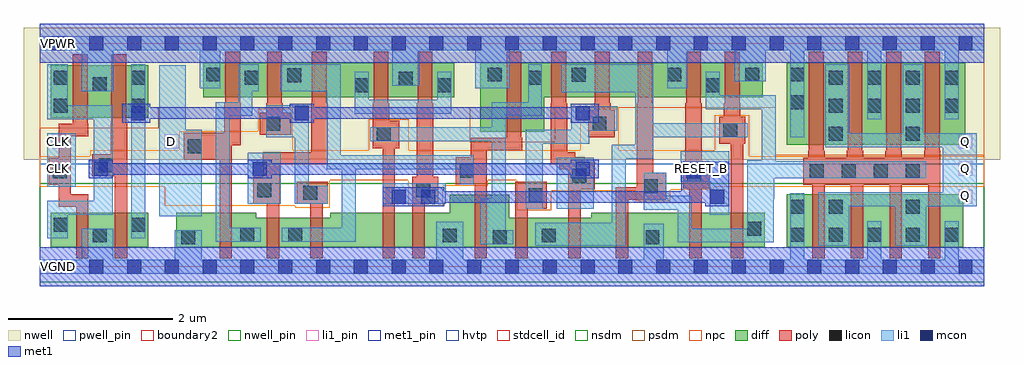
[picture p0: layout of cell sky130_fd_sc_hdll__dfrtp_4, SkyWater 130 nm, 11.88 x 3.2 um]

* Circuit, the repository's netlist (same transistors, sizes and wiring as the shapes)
* Copyright 2020 The SkyWater PDK Authors
*
* Licensed under the Apache License, Version 2.0 (the "License");
* you may not use this file except in compliance with the License.
* You may obtain a copy of the License at
*
*     https://www.apache.org/licenses/LICENSE-2.0
*
* Unless required by applicable law or agreed to in writing, software
* distributed under the License is distributed on an "AS IS" BASIS,
* WITHOUT WARRANTIES OR CONDITIONS OF ANY KIND, either express or implied.
* See the License for the specific language governing permissions and
* limitations under the License.
*
* SPDX-License-Identifier: Apache-2.0

.SUBCKT sky130_fd_sc_hdll__dfrtp_4 CLK D RESET_B VGND VNB VPB VPWR Q
*.PININFO CLK:I D:I RESET_B:I VGND:I VNB:I VPB:I VPWR:I Q:O
MI46 clkpos clkneg VGND VNB sky130_fd_pr__nfet_01v8 m=1 w=0.42U l=0.15U mult=1
+ sa=0.265 sb=0.265 sd=0.28 area=0.063 perim=1.14
MI42 db clkneg M0 VNB sky130_fd_pr__nfet_01v8 m=1 w=0.36U l=0.15U mult=1 sa=0.265
+ sb=0.265 sd=0.28 area=0.063 perim=1.14
MI656 net82 s0 net108 VNB sky130_fd_pr__nfet_01v8 m=1 w=0.42U l=0.15U mult=1 sa=0.265
+ sb=0.265 sd=0.28 area=0.063 perim=1.14
MI657 net108 RESET_B VGND VNB sky130_fd_pr__nfet_01v8 m=1 w=0.42U l=0.15U mult=1
+ sa=0.265 sb=0.265 sd=0.28 area=0.063 perim=1.14
MI33 net101 RESET_B VGND VNB sky130_fd_pr__nfet_01v8 m=1 w=0.42U l=0.15U mult=1
+ sa=0.265 sb=0.265 sd=0.28 area=0.063 perim=1.14
MI4 M0 clkpos net93 VNB sky130_fd_pr__nfet_01v8 m=1 w=0.36U l=0.15U mult=1 sa=0.265
+ sb=0.265 sd=0.28 area=0.063 perim=1.14
MI34 net93 M1 net101 VNB sky130_fd_pr__nfet_01v8 m=1 w=0.42U l=0.15U mult=1 sa=0.265
+ sb=0.265 sd=0.28 area=0.063 perim=1.14
MI655 s0 clkneg net81 VNB sky130_fd_pr__nfet_01v8 m=1 w=0.36U l=0.15U mult=1 sa=0.265
+ sb=0.265 sd=0.28 area=0.063 perim=1.14
MI653 Q net82 VGND VNB sky130_fd_pr__nfet_01v8 m=4 w=0.65U l=0.15U mult=1 sa=0.265
+ sb=0.265 sd=0.28 area=0.063 perim=1.14
MI654 net81 net82 VGND VNB sky130_fd_pr__nfet_01v8 m=1 w=0.42U l=0.15U mult=1 sa=0.265
+ sb=0.265 sd=0.28 area=0.063 perim=1.14
MI44 clkneg CLK VGND VNB sky130_fd_pr__nfet_01v8 m=1 w=0.42U l=0.15U mult=1 sa=0.265
+ sb=0.265 sd=0.28 area=0.063 perim=1.14
MI647 M1 M0 VGND VNB sky130_fd_pr__nfet_01v8 m=1 w=0.64U l=0.15U mult=1 sa=0.265
+ sb=0.265 sd=0.28 area=0.063 perim=1.14
MI39 db D VGND VNB sky130_fd_pr__nfet_01v8 m=1 w=0.42U l=0.15U mult=1 sa=0.265
+ sb=0.265 sd=0.28 area=0.063 perim=1.14
MI649 M1 clkpos s0 VNB sky130_fd_pr__nfet_01v8 m=1 w=0.36U l=0.15U mult=1 sa=0.265
+ sb=0.265 sd=0.28 area=0.063 perim=1.14
MI47 clkpos clkneg VPWR VPB sky130_fd_pr__pfet_01v8_hvt m=1 w=0.64U l=0.18U mult=1
+ sa=0.265 sb=0.265 sd=0.28 area=0.063 perim=1.14
MI43 db clkpos M0 VPB sky130_fd_pr__pfet_01v8_hvt m=1 w=0.42U l=0.18U mult=1 sa=0.265
+ sb=0.265 sd=0.28 area=0.063 perim=1.14
MI662 net165 net82 VPWR VPB sky130_fd_pr__pfet_01v8_hvt m=1 w=0.42U l=0.18U mult=1
+ sa=0.265 sb=0.265 sd=0.28 area=0.063 perim=1.14
MI659 net82 RESET_B VPWR VPB sky130_fd_pr__pfet_01v8_hvt m=1 w=0.42U l=0.18U mult=1
+ sa=0.265 sb=0.265 sd=0.28 area=0.063 perim=1.14
MI664 s0 clkpos net165 VPB sky130_fd_pr__pfet_01v8_hvt m=1 w=0.42U l=0.18U mult=1
+ sa=0.265 sb=0.265 sd=0.28 area=0.063 perim=1.14
MI658 net82 s0 VPWR VPB sky130_fd_pr__pfet_01v8_hvt m=1 w=0.42U l=0.18U mult=1
+ sa=0.265 sb=0.265 sd=0.28 area=0.063 perim=1.14
MI30 net144 M1 VPWR VPB sky130_fd_pr__pfet_01v8_hvt m=1 w=0.42U l=0.18U mult=1
+ sa=0.265 sb=0.265 sd=0.28 area=0.063 perim=1.14
MI31 M0 clkneg net144 VPB sky130_fd_pr__pfet_01v8_hvt m=1 w=0.42U l=0.18U mult=1
+ sa=0.265 sb=0.265 sd=0.28 area=0.063 perim=1.14
MI32 net144 RESET_B VPWR VPB sky130_fd_pr__pfet_01v8_hvt m=1 w=0.42U l=0.18U mult=1
+ sa=0.265 sb=0.265 sd=0.28 area=0.063 perim=1.14
MI660 Q net82 VPWR VPB sky130_fd_pr__pfet_01v8_hvt m=4 w=1.0U l=0.18U mult=1 sa=0.265
+ sb=0.265 sd=0.28 area=0.063 perim=1.14
MI45 clkneg CLK VPWR VPB sky130_fd_pr__pfet_01v8_hvt m=1 w=0.64U l=0.18U mult=1
+ sa=0.265 sb=0.265 sd=0.28 area=0.063 perim=1.14
MI648 M1 M0 VPWR VPB sky130_fd_pr__pfet_01v8_hvt m=1 w=0.84U l=0.18U mult=1 sa=0.265
+ sb=0.265 sd=0.28 area=0.063 perim=1.14
MI40 db D VPWR VPB sky130_fd_pr__pfet_01v8_hvt m=1 w=0.42U l=0.18U mult=1 sa=0.265
+ sb=0.265 sd=0.28 area=0.063 perim=1.14
MI650 M1 clkneg s0 VPB sky130_fd_pr__pfet_01v8_hvt m=1 w=0.42U l=0.18U mult=1 sa=0.265
+ sb=0.265 sd=0.28 area=0.063 perim=1.14
.ENDS sky130_fd_sc_hdll__dfrtp_4

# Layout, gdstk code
import gdstk
lib = gdstk.Library(unit=1e-6, precision=1e-09)
def R(c, l, rs):  # rectangles x0, y0, x1, y1
    for r in rs: c.add(gdstk.rectangle(r[:2], r[2:], *l))
def A(c, l, x, y, w, h, nx, ny, dx, dy):  # array of equal rectangles
    R(c, l, [(x+i*dx, y+j*dy, x+i*dx+w, y+j*dy+h) for i in range(nx) for j in range(ny)])
def P(c, l, *ps):  # polygons
    for p in ps: c.add(gdstk.Polygon(p, *l))
nwell_pin = (64, 16)
nwell = (64, 20)
diff = (65, 20)
poly = (66, 20)
licon = (66, 44)
li1_pin = (67, 16)
li1 = (67, 20)
mcon = (67, 44)
met1_pin = (68, 16)
met1 = (68, 20)
hvtp = (78, 44)
stdcell_id = (81, 4)
nsdm = (93, 44)
psdm = (94, 20)
npc = (95, 20)
pwell_pin = (122, 16)
boundary2 = (236, 0)

sky130_fd_sc_hdll__dfrtp = lib.new_cell('sky130_fd_sc_hdll__dfrtp_4')
R(sky130_fd_sc_hdll__dfrtp, nwell_pin, [(0.145,2.635,0.315,2.805)])
R(sky130_fd_sc_hdll__dfrtp, nwell, [(-0.19,1.305,11.69,2.91)])
R(sky130_fd_sc_hdll__dfrtp, diff, [(0.135,0.235,1.325,0.655), (9.095,0.235,11.245,0.885), (9.095,1.485,11.27,2.485), (0.135,1.815,1.325,2.455), (1.99,2.065,5.05,2.485)])
P(sky130_fd_sc_hdll__dfrtp, diff, [(8.8,2.485),(5.365,2.485),(5.365,1.645),(6.145,1.645),(6.145,2.065),(8.8,2.065)],
  [(8.825,0.655),(6.715,0.655),(6.715,0.595),(5.715,0.595),(5.715,0.875),(4.995,0.875),(4.995,0.655),(3.535,0.655),(3.535,0.595),(2.64,0.595),(2.64,0.655),(1.665,0.655),(1.665,0.235),(8.825,0.235)])
P(sky130_fd_sc_hdll__dfrtp, poly, [(0.595,1.74),(0.585,1.74),(0.585,2.585),(0.405,2.585),(0.405,1.74),(0.23,1.74),(0.23,1.325),(0.11,1.325),(0.11,0.995),(0.23,0.995),(0.23,0.73),(0.445,0.73),(0.445,0.105),(0.595,0.105),(0.595,0.88),(0.38,0.88),(0.38,1.59),(0.595,1.59)],
  [(1.065,1.74),(1.055,1.74),(1.055,2.585),(0.875,2.585),(0.875,1.74),(0.865,1.74),(0.865,1.37),(0.64,1.37),(0.64,1.1),(0.915,1.1),(0.915,0.105),(1.065,0.105)],
  [(2.45,1.99),(2.44,1.99),(2.44,2.615),(2.26,2.615),(2.26,1.99),(2.25,1.99),(2.25,1.63),(1.755,1.63),(1.755,1.3),(2.19,1.3),(2.19,0.105),(2.34,0.105),(2.34,1.48),(2.45,1.48)],
  [(3.06,1.875),(2.96,1.875),(2.96,1.99),(2.95,1.99),(2.95,2.615),(2.77,2.615),(2.77,1.99),(2.76,1.99),(2.76,1.875),(2.68,1.875),(2.68,1.605),(3.06,1.605)],
  [(3.505,1.99),(3.495,1.99),(3.495,2.615),(3.315,2.615),(3.315,1.99),(3.305,1.99),(3.305,1.395),(2.715,1.395),(2.715,1.095),(2.6,1.095),(2.6,0.765),(2.765,0.765),(2.765,0.105),(2.915,0.105),(2.915,0.765),(2.92,0.765),(2.92,1.245),(3.505,1.245)],
  [(3.51,1.035),(3.13,1.035),(3.13,0.765),(3.295,0.765),(3.295,0.105),(3.445,0.105),(3.445,0.765),(3.51,0.765)],
  [(4.38,1.775),(4.255,1.775),(4.255,1.99),(4.245,1.99),(4.245,2.615),(4.065,2.615),(4.065,1.99),(4.055,1.99),(4.055,1.445),(4.175,1.445),(4.175,0.105),(4.325,0.105),(4.325,1.445),(4.38,1.445)],
  [(4.855,1.095),(4.79,1.095),(4.79,1.99),(4.78,1.99),(4.78,2.615),(4.6,2.615),(4.6,1.99),(4.59,1.99),(4.59,1.095),(4.535,1.095),(4.535,0.105),(4.685,0.105),(4.685,0.765),(4.855,0.765)],
  [(5.875,1.57),(5.865,1.57),(5.865,2.615),(5.685,2.615),(5.685,1.57),(5.245,1.57),(5.245,1.335),(5.065,1.335),(5.065,1.005),(5.295,1.005),(5.295,0.105),(5.445,0.105),(5.445,1.42),(5.875,1.42)],
  [(6.175,1.035),(5.79,1.035),(5.79,0.105),(5.94,0.105),(5.94,0.705),(6.175,0.705)],
  [(6.755,1.275),(6.635,1.275),(6.635,1.335),(6.52,1.335),(6.52,1.395),(6.42,1.395),(6.42,1.99),(6.41,1.99),(6.41,2.615),(6.23,2.615),(6.23,1.99),(6.22,1.99),(6.22,1.245),(6.325,1.245),(6.325,1.185),(6.435,1.185),(6.435,0.105),(6.585,0.105),(6.585,0.945),(6.755,0.945)],
  [(7,1.905),(6.95,1.905),(6.95,1.99),(6.94,1.99),(6.94,2.615),(6.76,2.615),(6.76,1.99),(6.75,1.99),(6.75,1.905),(6.68,1.905),(6.68,1.575),(7,1.575)],
  [(7.625,1.145),(7.47,1.145),(7.47,1.99),(7.46,1.99),(7.46,2.615),(7.28,2.615),(7.28,1.99),(7.27,1.99),(7.27,0.965),(7.015,0.965),(7.015,0.105),(7.165,0.105),(7.165,0.815),(7.625,0.815)],
  [(8.155,1.285),(8.06,1.285),(8.06,1.99),(8.05,1.99),(8.05,2.615),(7.87,2.615),(7.87,1.99),(7.86,1.99),(7.86,1.285),(7.835,1.285),(7.835,0.955),(7.91,0.955),(7.91,0.105),(8.06,0.105),(8.06,0.955),(8.155,0.955)],
  [(8.59,1.825),(8.53,1.825),(8.53,1.99),(8.52,1.99),(8.52,2.615),(8.34,2.615),(8.34,1.99),(8.33,1.99),(8.33,1.825),(8.27,1.825),(8.27,1.495),(8.415,1.495),(8.415,0.105),(8.565,0.105),(8.565,1.495),(8.59,1.495)],
  [(10.965,1.41),(10.955,1.41),(10.955,2.615),(10.775,2.615),(10.775,1.41),(10.765,1.41),(10.765,1.325),(10.495,1.325),(10.495,1.41),(10.485,1.41),(10.485,2.615),(10.305,2.615),(10.305,1.41),(10.295,1.41),(10.295,1.325),(10.025,1.325),(10.025,1.41),(10.015,1.41),(10.015,2.615),(9.835,2.615),(9.835,1.41),(9.825,1.41),(9.825,1.325),(9.555,1.325),(9.555,1.41),(9.545,1.41),(9.545,2.615),(9.365,2.615),(9.365,1.41),(9.355,1.41),(9.355,1.325),(9.295,1.325),(9.295,0.995),(9.405,0.995),(9.405,0.105),(9.555,0.105),(9.555,0.995),(9.875,0.995),(9.875,0.105),(10.025,0.105),(10.025,0.995),(10.345,0.995),(10.345,0.105),(10.495,0.105),(10.495,0.995),(10.815,0.995),(10.815,0.105),(10.965,0.105)])
A(sky130_fd_sc_hdll__dfrtp, licon, 9.135, 0.305, 0.17, 0.17, 5, 1, 0.47, 0)
A(sky130_fd_sc_hdll__dfrtp, licon, 9.375, 1.075, 0.17, 0.17, 4, 1, 0.39, 0)
A(sky130_fd_sc_hdll__dfrtp, licon, 9.605, 1.875, 0.17, 0.17, 4, 2, 0.47, 0.34)
R(sky130_fd_sc_hdll__dfrtp, licon, [(1.725,0.275,1.895,0.445), (5.515,0.275,5.685,0.445), (7.375,0.275,7.545,0.445), (0.645,0.295,0.815,0.465), (4.905,0.295,5.075,0.465), (6.115,0.295,6.285,0.465), (2.44,0.305,2.61,0.475), (3.025,0.305,3.195,0.475), (8.615,0.375,8.785,0.545), (0.175,0.425,0.345,0.595), (1.115,0.425,1.285,0.595), (9.135,0.645,9.305,0.815), (9.605,0.645,9.775,0.815), (10.545,0.645,10.715,0.815), (5.955,0.785,6.125,0.955), (3.21,0.815,3.38,0.985), (2.65,0.845,2.82,1.015), (4.585,0.845,4.755,1.015), (7.355,0.895,7.525,1.065), (6.485,1.025,6.655,1.195), (7.885,1.035,8.055,1.205), (0.16,1.075,0.33,1.245), (5.115,1.085,5.285,1.255), (0.72,1.15,0.89,1.32), (1.805,1.38,1.975,1.55), (4.105,1.525,4.275,1.695), (9.605,1.535,9.775,1.705), (10.545,1.535,10.715,1.705), (8.32,1.575,8.49,1.745), (2.76,1.655,2.93,1.825), (6.73,1.655,6.9,1.825), (0.175,1.875,0.345,2.045), (1.115,1.875,1.285,2.045), (9.135,1.915,9.305,2.085), (3.835,2.125,4.005,2.295), (4.84,2.125,5.01,2.295), (8.11,2.125,8.28,2.295), (0.645,2.135,0.815,2.305), (4.37,2.205,4.54,2.375), (0.175,2.215,0.345,2.385), (1.115,2.215,1.285,2.385), (2.5,2.215,2.67,2.385), (5.945,2.215,6.115,2.385), (3.015,2.245,3.185,2.415), (6.48,2.25,6.65,2.42), (2.03,2.255,2.2,2.425), (5.455,2.255,5.625,2.425), (7.64,2.255,7.81,2.425), (8.59,2.255,8.76,2.425), (9.135,2.255,9.305,2.425)])
A(sky130_fd_sc_hdll__dfrtp, li1_pin, 11.185, 0.765, 0.17, 0.17, 1, 3, 0, 0.34)
R(sky130_fd_sc_hdll__dfrtp, li1_pin, [(0.15,1.105,0.32,1.275), (0.15,1.445,0.32,1.615), (1.525,1.445,1.695,1.615)])
R(sky130_fd_sc_hdll__dfrtp, li1, [(1.115,0.345,1.285,2.465), (6.295,0.705,6.745,1.325), (2.535,0.765,2.935,1.385), (4.175,0.765,4.945,1.015), (0.09,0.975,0.44,1.625)])
P(sky130_fd_sc_hdll__dfrtp, li1, [(0.89,1.965),(0.345,1.965),(0.345,2.465),(0.09,2.465),(0.09,1.795),(0.66,1.795),(0.66,0.805),(0.09,0.805),(0.09,0.345),(0.345,0.345),(0.345,0.635),(0.89,0.635)],
  [(1.975,1.665),(1.78,1.665),(1.78,2.45),(1.455,2.45),(1.455,0.615),(1.975,0.615)],
  [(2.69,0.475),(2.315,0.475),(2.315,1.835),(2.59,1.835),(2.59,2.135),(2.67,2.135),(2.67,2.465),(2.42,2.465),(2.42,2.005),(2.145,2.005),(2.145,0.305),(2.69,0.305)],
  [(3.51,0.985),(3.275,0.985),(3.275,1.965),(2.76,1.965),(2.76,1.575),(3.105,1.575),(3.105,0.765),(3.51,0.765)],
  [(5.01,2.375),(4.84,2.375),(4.84,2.035),(4.005,2.035),(4.005,2.375),(3.835,2.375),(3.835,1.865),(5.01,1.865)],
  [(5.285,1.355),(3.665,1.355),(3.665,2.465),(2.935,2.465),(2.935,2.135),(3.495,2.135),(3.495,1.185),(3.68,1.185),(3.68,0.475),(2.945,0.475),(2.945,0.305),(3.85,0.305),(3.85,1.185),(5.115,1.185),(5.115,1.005),(5.285,1.005)],
  [(6.115,2.465),(5.945,2.465),(5.945,2.005),(5.505,2.005),(5.505,1.695),(4.025,1.695),(4.025,1.525),(5.505,1.525),(5.505,0.835),(5.365,0.835),(5.365,0.275),(5.765,0.275),(5.765,0.445),(5.675,0.445),(5.675,1.835),(6.115,1.835)],
  [(7.03,1.955),(6.47,1.955),(6.47,1.665),(5.915,1.665),(5.915,0.705),(6.125,0.705),(6.125,1.495),(6.69,1.495),(6.69,1.655),(7.03,1.655)],
  [(8.395,1.405),(7.805,1.405),(7.805,1.035),(8.155,1.035),(8.155,0.635),(8.395,0.635)],
  [(8.62,1.745),(7.47,1.745),(7.47,2.465),(6.35,2.465),(6.35,2.125),(7.25,2.125),(7.25,1.485),(6.965,1.485),(6.965,0.535),(6.035,0.535),(6.035,0.255),(7.135,0.255),(7.135,1.315),(7.47,1.315),(7.47,1.575),(8.62,1.575)],
  [(10.795,1.285),(8.96,1.285),(8.96,2.085),(8.28,2.085),(8.28,2.375),(8.11,2.375),(8.11,1.915),(8.79,1.915),(8.79,1.295),(8.615,1.295),(8.615,0.465),(7.935,0.465),(7.935,0.865),(7.625,0.865),(7.625,1.145),(7.355,1.145),(7.355,0.695),(7.765,0.695),(7.765,0.295),(8.935,0.295),(8.935,0.82),(8.94,0.82),(8.94,1.075),(10.795,1.075)],
  [(11.405,1.625),(10.755,1.625),(10.755,2.465),(10.505,2.465),(10.505,1.625),(9.855,1.625),(9.855,2.465),(9.565,2.465),(9.565,1.455),(10.995,1.455),(10.995,0.905),(9.475,0.905),(9.475,0.255),(9.855,0.255),(9.855,0.735),(10.415,0.735),(10.415,0.255),(10.795,0.255),(10.795,0.735),(11.405,0.735)],
  [(11.5,2.805),(0,2.805),(0,2.635),(0.515,2.635),(0.515,2.135),(0.895,2.135),(0.895,2.635),(1.95,2.635),(1.95,2.175),(2.2,2.175),(2.2,2.635),(4.29,2.635),(4.29,2.205),(4.62,2.205),(4.62,2.635),(5.305,2.635),(5.305,2.175),(5.725,2.175),(5.725,2.635),(7.64,2.635),(7.64,2.175),(7.89,2.175),(7.89,2.635),(8.46,2.635),(8.46,2.255),(8.84,2.255),(8.84,2.635),(9.135,2.635),(9.135,1.575),(9.305,1.575),(9.305,2.635),(10.075,2.635),(10.075,1.795),(10.245,1.795),(10.245,2.635),(11.015,2.635),(11.015,1.795),(11.185,1.795),(11.185,2.635),(11.5,2.635)],
  [(11.5,0.085),(11.185,0.085),(11.185,0.555),(11.015,0.555),(11.015,0.085),(10.245,0.085),(10.245,0.555),(10.075,0.555),(10.075,0.085),(9.305,0.085),(9.305,0.895),(9.135,0.895),(9.135,0.085),(7.595,0.085),(7.595,0.525),(7.355,0.525),(7.355,0.085),(5.155,0.085),(5.155,0.545),(4.825,0.545),(4.825,0.085),(1.975,0.085),(1.975,0.445),(1.645,0.445),(1.645,0.085),(0.895,0.085),(0.895,0.465),(0.515,0.465),(0.515,0.085),(0,0.085),(0,-0.085),(11.5,-0.085)])
A(sky130_fd_sc_hdll__dfrtp, mcon, 0.145, -0.085, 0.17, 0.17, 25, 2, 0.46, 2.72)
R(sky130_fd_sc_hdll__dfrtp, mcon, [(4.285,0.765,4.455,0.935), (4.645,0.765,4.815,0.935), (8.165,0.765,8.335,0.935), (7.87,1.08,8.04,1.25), (0.66,1.105,0.83,1.275), (2.595,1.105,2.765,1.275), (6.525,1.105,6.695,1.275), (1.115,1.785,1.285,1.955), (3.105,1.785,3.275,1.955), (6.525,1.785,6.695,1.955)])
R(sky130_fd_sc_hdll__dfrtp, met1_pin, [(0.145,-0.085,0.315,0.085), (7.965,1.105,8.135,1.275), (0.145,2.635,0.315,2.805)])
R(sky130_fd_sc_hdll__dfrtp, met1, [(0,-0.24,11.5,0.24), (0,2.48,11.5,2.96)])
P(sky130_fd_sc_hdll__dfrtp, met1, [(6.805,1.985),(6.465,1.985),(6.465,1.94),(3.335,1.94),(3.335,1.985),(3.045,1.985),(3.045,1.94),(1.345,1.94),(1.345,1.985),(1.005,1.985),(1.005,1.755),(1.345,1.755),(1.345,1.8),(3.045,1.8),(3.045,1.755),(3.335,1.755),(3.335,1.8),(6.465,1.8),(6.465,1.755),(6.805,1.755)],
  [(6.805,1.305),(6.465,1.305),(6.465,1.26),(2.825,1.26),(2.825,1.305),(2.535,1.305),(2.535,1.26),(0.89,1.26),(0.89,1.305),(0.6,1.305),(0.6,1.075),(0.89,1.075),(0.89,1.12),(2.535,1.12),(2.535,1.075),(2.825,1.075),(2.825,1.12),(6.465,1.12),(6.465,1.075),(6.805,1.075)],
  [(8.395,1.28),(7.81,1.28),(7.81,0.92),(4.925,0.92),(4.925,0.965),(4.175,0.965),(4.175,0.735),(4.925,0.735),(4.925,0.78),(8.105,0.78),(8.105,0.735),(8.395,0.735)])
R(sky130_fd_sc_hdll__dfrtp, hvtp, [(0,1.25,11.5,2.72)])
R(sky130_fd_sc_hdll__dfrtp, stdcell_id, [(0,0,11.5,2.72)])
R(sky130_fd_sc_hdll__dfrtp, nsdm, [(0,-0.19,11.5,1.015)])
P(sky130_fd_sc_hdll__dfrtp, psdm, [(11.5,2.91),(0,2.91),(0,1.685),(1.45,1.685),(1.45,1.935),(5.235,1.935),(5.235,1.515),(6.275,1.515),(6.275,1.935),(8.955,1.935),(8.955,1.355),(11.5,1.355)])
P(sky130_fd_sc_hdll__dfrtp, npc, [(11.5,1.345),(8.64,1.345),(8.64,1.845),(8.22,1.845),(8.22,1.42),(7.05,1.42),(7.05,1.925),(6.58,1.925),(6.58,1.42),(4.495,1.42),(4.495,1.795),(4.005,1.795),(4.005,1.42),(3.08,1.42),(3.08,1.925),(2.66,1.925),(2.66,1.65),(1.7,1.65),(1.7,1.42),(0.615,1.42),(0.615,1.345),(0,1.345),(0,0.975),(1.525,0.975),(1.525,0.745),(3.11,0.745),(3.11,0.715),(3.53,0.715),(3.53,1.05),(4.485,1.05),(4.485,0.745),(4.905,0.745),(4.905,0.985),(5.455,0.985),(5.455,1.05),(5.805,1.05),(5.805,0.685),(6.225,0.685),(6.225,0.925),(7.255,0.925),(7.255,0.795),(7.675,0.795),(7.675,0.935),(8.205,0.935),(8.205,0.975),(11.5,0.975)])
R(sky130_fd_sc_hdll__dfrtp, pwell_pin, [(0.145,-0.085,0.315,0.085)])
R(sky130_fd_sc_hdll__dfrtp, boundary2, [(0,0,11.5,2.72)])
sky130_fd_sc_hdll__dfrtp.add(gdstk.Label('Q', (11.27,1.53), layer=67, texttype=5))
sky130_fd_sc_hdll__dfrtp.add(gdstk.Label('D', (1.61,1.53), layer=67, texttype=5))
sky130_fd_sc_hdll__dfrtp.add(gdstk.Label('CLK', (0.235,1.53), layer=67, texttype=5))
sky130_fd_sc_hdll__dfrtp.add(gdstk.Label('CLK', (0.235,1.19), layer=67, texttype=5))
sky130_fd_sc_hdll__dfrtp.add(gdstk.Label('Q', (11.27,0.865), layer=67, texttype=5))
sky130_fd_sc_hdll__dfrtp.add(gdstk.Label('Q', (11.27,1.19), layer=67, texttype=5))
sky130_fd_sc_hdll__dfrtp.add(gdstk.Label('VGND', (0.23,0), layer=68, texttype=5))
sky130_fd_sc_hdll__dfrtp.add(gdstk.Label('VPWR', (0.23,2.72), layer=68, texttype=5))
sky130_fd_sc_hdll__dfrtp.add(gdstk.Label('RESET_B', (8.055,1.19), layer=68, texttype=5))
sky130_fd_sc_hdll__dfrtp.add(gdstk.Label('VPB', (0.23,2.72), layer=64, texttype=5))
sky130_fd_sc_hdll__dfrtp.add(gdstk.Label('VNB', (0.23,0), layer=64, texttype=59))
sky130_fd_sc_hdll__dfrtp.add(gdstk.Label('dfrtp_4', (0,0), layer=83, texttype=44))

lib.write_gds('sky130_fd_sc_hdll__dfrtp_4.gds')
